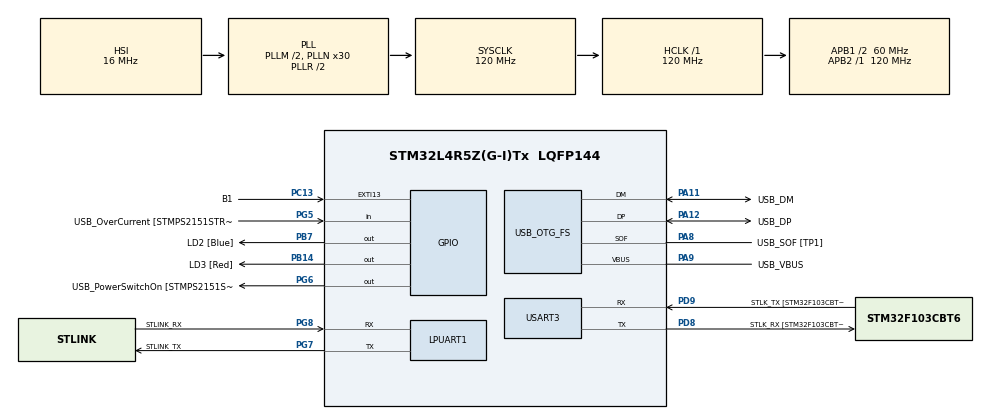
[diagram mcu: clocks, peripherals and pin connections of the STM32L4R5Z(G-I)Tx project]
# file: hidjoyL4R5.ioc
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Mcu.Family=STM32L4
Mcu.Name=STM32L4R5Z(G-I)Tx
Mcu.Package=LQFP144
NVIC.OTG_FS_IRQn=true\:0\:0\:false\:false\:true\:false\:true\:true
NVIC.PriorityGroup=NVIC_PRIORITYGROUP_4
PA10.GPIO_Label=USB_ID
PA10.Signal=USB_OTG_FS_ID
PA11.GPIO_Label=USB_DM
PA11.Mode=Device_Only
PA11.Signal=USB_OTG_FS_DM
PA12.GPIO_Label=USB_DP
PA12.Mode=Device_Only
PA12.Signal=USB_OTG_FS_DP
PA13\ (JTMS/SWDIO).GPIO_Label=TMS
PA13\ (JTMS/SWDIO).Mode=Serial_Wire
PA13\ (JTMS/SWDIO).Signal=SYS_JTMS-SWDIO
PA14\ (JTCK/SWCLK).GPIO_Label=TCK
PA14\ (JTCK/SWCLK).Mode=Serial_Wire
PA14\ (JTCK/SWCLK).Signal=SYS_JTCK-SWCLK
PA8.GPIO_Label=USB_SOF [TP1]
PA8.Mode=Activate_SOF_FS
PA8.Signal=USB_OTG_FS_SOF
PA9.GPIO_Label=USB_VBUS
PA9.Mode=Activate_VBUS
PA9.Signal=USB_OTG_FS_VBUS
PB14.GPIO_Label=LD3 [Red]
PB14.Signal=GPIO_Output
PB3\ (JTDO/TRACESWO).GPIO_Label=SWO
PB3\ (JTDO/TRACESWO).Signal=SYS_JTDO-SWO
PB7.GPIO_Label=LD2 [Blue]
PB7.Signal=GPIO_Output
PC13.GPIO_Label=B1
PC13.Signal=GPXTI13
PC14-OSC32_IN\ (PC14).Mode=LSE-External-Oscillator
PC14-OSC32_IN\ (PC14).Signal=RCC_OSC32_IN
PC15-OSC32_OUT\ (PC15).Mode=LSE-External-Oscillator
PC15-OSC32_OUT\ (PC15).Signal=RCC_OSC32_OUT
PD8.GPIO_Label=STLK_RX [STM32F103CBT6_PA3]
PD8.Mode=Asynchronous
PD8.Signal=USART3_TX
PD9.GPIO_Label=STLK_TX [STM32F103CBT6_PA2]
PD9.Mode=Asynchronous
PD9.Signal=USART3_RX
PG5.GPIO_Label=USB_OverCurrent [STMPS2151STR_FAULT]
PG5.Signal=GPIO_Input
PG6.GPIO_Label=USB_PowerSwitchOn [STMPS2151STR_EN]
PG6.Signal=GPIO_Output
PG7.GPIO_Label=STLINK_TX
PG7.Mode=Asynchronous
PG7.Signal=LPUART1_TX
PG8.GPIO_Label=STLINK_RX
PG8.Mode=Asynchronous
PG8.Signal=LPUART1_RX
PH0-OSC_IN\ (PH0).Signal=RCC_OSC_IN
PH1-OSC_OUT\ (PH1).Signal=RCC_OSC_OUT
ProjectManager.HeapSize=0x200
ProjectManager.StackSize=0x400
ProjectManager.TargetToolchain=STM32CubeIDE
RCC.48MHZClocksFreq_Value=24000000
RCC.ADCFreq_Value=96000000
RCC.AHBFreq_Value=120000000
RCC.APB1CLKDivider=RCC_HCLK_DIV2
RCC.APB1Freq_Value=60000000
RCC.APB1TimFreq_Value=120000000
RCC.APB2Freq_Value=120000000
RCC.APB2TimFreq_Value=120000000
RCC.CK48CLockSelection=RCC_USBCLKSOURCE_HSI48
RCC.CortexFreq_Value=120000000
RCC.HCLKFreq_Value=120000000
RCC.HSE_VALUE=8000000
RCC.HSI48_VALUE=48000000
RCC.HSI_VALUE=16000000
RCC.MSI_VALUE=4000000
RCC.PLLM1=2
RCC.PLLMUL=RCC_PLL_MUL9
RCC.PLLN=30
RCC.PLLSAI1N=12
RCC.PLLSourceVirtual=RCC_PLLSOURCE_HSI
RCC.PRESCALERUSB=RCC_USBCLKSOURCE_PLL_DIV1_5
RCC.SYSCLKFreq_VALUE=120000000
RCC.SYSCLKSource=RCC_SYSCLKSOURCE_PLLCLK
RCC.SYSCLKSourceVirtual=RCC_SYSCLKSOURCE_PLLCLK
RCC.USBFreq_Value=48000000
RCC.VCOOutputFreq_Value=240000000
USART3.VirtualMode-Asynchronous=VM_ASYNC
USB_DEVICE.CLASS_NAME_FS=HID
USB_DEVICE.VirtualMode=Hid
USB_DEVICE.VirtualModeFS=Hid_FS
USB_OTG_FS.VirtualMode=Device_Only
VP_USB_DEVICE_VS_USB_DEVICE_HID_FS.Mode=HID_FS
board=NUCLEO-L4R5ZI

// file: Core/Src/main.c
/* USER CODE BEGIN Header */
/**
  ******************************************************************************
  * @file           : main.c
  * @brief          : Main program body
  ******************************************************************************
  * @attention
  *
  * Copyright (c) 2024 STMicroelectronics.
  * All rights reserved.
  *
  * This software is licensed under terms that can be found in the LICENSE file
  * in the root directory of this software component.
  * If no LICENSE file comes with this software, it is provided AS-IS.
  *
  ******************************************************************************
  */
/* USER CODE END Header */
#include "main.h"
#include "usb_device.h"

/* USER CODE BEGIN Includes */
#include "usbd_hid.h"
/* USER CODE END Includes */

/* USER CODE BEGIN PD */

typedef struct {
    // Buttons (3 bits for buttons + 5 bits padding to complete the byte)
    uint8_t button1 : 1;
    uint8_t button2 : 1;
    uint8_t button3 : 1;
    uint8_t padding1 : 5;  // Padding to align the next data to a byte boundary

    // Axes (5 axes, each 12 bits, padded to 16 bits for alignment)
    uint16_t x_axis : 12;
    uint16_t x_padding : 4;  // 4-bit padding to align to 16 bits

    uint16_t y_axis : 12;
    uint16_t y_padding : 4;

    uint16_t z_axis : 12;
    uint16_t z_padding : 4;

    uint16_t rx_axis : 12;
    uint16_t rx_padding : 4;

    uint16_t ry_axis : 12;
    uint16_t ry_padding : 4;
} __attribute__((packed)) JoystickReport;

/* USER CODE END PD */

UART_HandleTypeDef hlpuart1;
UART_HandleTypeDef huart3;

void SystemClock_Config(void);
static void MX_GPIO_Init(void);
static void MX_LPUART1_UART_Init(void);
static void MX_USART3_UART_Init(void);
uint8_t USBD_HID_SendReport(USBD_HandleTypeDef *pdev, uint8_t *report, uint16_t len);
/* USER CODE BEGIN PFP */

extern USBD_HandleTypeDef hUsbDeviceFS;
/* USER CODE END PFP */

int main(void)
{

  /* MCU Configuration--------------------------------------------------------*/

  /* Reset of all peripherals, Initializes the Flash interface and the Systick. */
  HAL_Init();

  /* Configure the system clock */
  SystemClock_Config();

  /* Initialize all configured peripherals */
  MX_GPIO_Init();
  MX_LPUART1_UART_Init();
  MX_USART3_UART_Init();
  MX_USB_DEVICE_Init();

  /* Infinite loop */
  while (1)
  {
	  static uint16_t val = 0;
	  static JoystickReport rep = {};
	  rep.x_axis = val;
	  rep.y_axis = UINT16_MAX - val;
	  rep.z_axis = val;
	  rep.rx_axis = UINT16_MAX - val;
	  rep.ry_axis = val;

	  if(!(val % 500))
	  {
		  rep.button1 = !rep.button1;
		  rep.button2 = !rep.button1;
		  rep.button3 = !rep.button2;
	  }

	  USBD_HID_SendReport(&hUsbDeviceFS, (void *)&rep, sizeof(rep));

	  HAL_Delay(10);
	  val += 10;
  }
}

void SystemClock_Config(void)
{
  RCC_OscInitTypeDef RCC_OscInitStruct = {0};
  RCC_ClkInitTypeDef RCC_ClkInitStruct = {0};

  /** Configure the main internal regulator output voltage
  */
  if (HAL_PWREx_ControlVoltageScaling(PWR_REGULATOR_VOLTAGE_SCALE1_BOOST) != HAL_OK)
  {
    Error_Handler();
  }

  /** Initializes the RCC Oscillators according to the specified parameters
  * in the RCC_OscInitTypeDef structure.
  */
  RCC_OscInitStruct.OscillatorType = RCC_OSCILLATORTYPE_HSI48|RCC_OSCILLATORTYPE_HSI;
  RCC_OscInitStruct.HSIState = RCC_HSI_ON;
  RCC_OscInitStruct.HSI48State = RCC_HSI48_ON;
  RCC_OscInitStruct.HSICalibrationValue = RCC_HSICALIBRATION_DEFAULT;
  RCC_OscInitStruct.PLL.PLLState = RCC_PLL_ON;
  RCC_OscInitStruct.PLL.PLLSource = RCC_PLLSOURCE_HSI;
  RCC_OscInitStruct.PLL.PLLM = 2;
  RCC_OscInitStruct.PLL.PLLN = 30;
  RCC_OscInitStruct.PLL.PLLP = RCC_PLLP_DIV2;
  RCC_OscInitStruct.PLL.PLLQ = RCC_PLLQ_DIV2;
  RCC_OscInitStruct.PLL.PLLR = RCC_PLLR_DIV2;
  if (HAL_RCC_OscConfig(&RCC_OscInitStruct) != HAL_OK)
  {
    Error_Handler();
  }

  /** Initializes the CPU, AHB and APB buses clocks
  */
  RCC_ClkInitStruct.ClockType = RCC_CLOCKTYPE_HCLK|RCC_CLOCKTYPE_SYSCLK
                              |RCC_CLOCKTYPE_PCLK1|RCC_CLOCKTYPE_PCLK2;
  RCC_ClkInitStruct.SYSCLKSource = RCC_SYSCLKSOURCE_PLLCLK;
  RCC_ClkInitStruct.AHBCLKDivider = RCC_SYSCLK_DIV1;
  RCC_ClkInitStruct.APB1CLKDivider = RCC_HCLK_DIV2;
  RCC_ClkInitStruct.APB2CLKDivider = RCC_HCLK_DIV1;

  if (HAL_RCC_ClockConfig(&RCC_ClkInitStruct, FLASH_LATENCY_5) != HAL_OK)
  {
    Error_Handler();
  }
}

static void MX_LPUART1_UART_Init(void)
{

  hlpuart1.Instance = LPUART1;
  hlpuart1.Init.BaudRate = 209700;
  hlpuart1.Init.WordLength = UART_WORDLENGTH_7B;
  hlpuart1.Init.StopBits = UART_STOPBITS_1;
  hlpuart1.Init.Parity = UART_PARITY_NONE;
  hlpuart1.Init.Mode = UART_MODE_TX_RX;
  hlpuart1.Init.HwFlowCtl = UART_HWCONTROL_NONE;
  hlpuart1.Init.OneBitSampling = UART_ONE_BIT_SAMPLE_DISABLE;
  hlpuart1.Init.ClockPrescaler = UART_PRESCALER_DIV1;
  hlpuart1.AdvancedInit.AdvFeatureInit = UART_ADVFEATURE_NO_INIT;
  hlpuart1.FifoMode = UART_FIFOMODE_DISABLE;
  if (HAL_UART_Init(&hlpuart1) != HAL_OK)
  {
    Error_Handler();
  }
  if (HAL_UARTEx_SetTxFifoThreshold(&hlpuart1, UART_TXFIFO_THRESHOLD_1_8) != HAL_OK)
  {
    Error_Handler();
  }
  if (HAL_UARTEx_SetRxFifoThreshold(&hlpuart1, UART_RXFIFO_THRESHOLD_1_8) != HAL_OK)
  {
    Error_Handler();
  }
  if (HAL_UARTEx_DisableFifoMode(&hlpuart1) != HAL_OK)
  {
    Error_Handler();
  }

}

static void MX_USART3_UART_Init(void)
{

  huart3.Instance = USART3;
  huart3.Init.BaudRate = 115200;
  huart3.Init.WordLength = UART_WORDLENGTH_8B;
  huart3.Init.StopBits = UART_STOPBITS_1;
  huart3.Init.Parity = UART_PARITY_NONE;
  huart3.Init.Mode = UART_MODE_TX_RX;
  huart3.Init.HwFlowCtl = UART_HWCONTROL_NONE;
  huart3.Init.OverSampling = UART_OVERSAMPLING_16;
  huart3.Init.OneBitSampling = UART_ONE_BIT_SAMPLE_DISABLE;
  huart3.Init.ClockPrescaler = UART_PRESCALER_DIV1;
  huart3.AdvancedInit.AdvFeatureInit = UART_ADVFEATURE_NO_INIT;
  if (HAL_UART_Init(&huart3) != HAL_OK)
  {
    Error_Handler();
  }
  if (HAL_UARTEx_SetTxFifoThreshold(&huart3, UART_TXFIFO_THRESHOLD_1_8) != HAL_OK)
  {
    Error_Handler();
  }
  if (HAL_UARTEx_SetRxFifoThreshold(&huart3, UART_RXFIFO_THRESHOLD_1_8) != HAL_OK)
  {
    Error_Handler();
  }
  if (HAL_UARTEx_DisableFifoMode(&huart3) != HAL_OK)
  {
    Error_Handler();
  }

}

static void MX_GPIO_Init(void)
{
  GPIO_InitTypeDef GPIO_InitStruct = {0};

  /* GPIO Ports Clock Enable */
  __HAL_RCC_GPIOC_CLK_ENABLE();
  __HAL_RCC_GPIOH_CLK_ENABLE();
  __HAL_RCC_GPIOB_CLK_ENABLE();
  __HAL_RCC_GPIOD_CLK_ENABLE();
  __HAL_RCC_GPIOG_CLK_ENABLE();
  HAL_PWREx_EnableVddIO2();
  __HAL_RCC_GPIOA_CLK_ENABLE();

  /*Configure GPIO pin Output Level */
  HAL_GPIO_WritePin(GPIOB, LD3_Pin|LD2_Pin, GPIO_PIN_RESET);

  /*Configure GPIO pin Output Level */
  HAL_GPIO_WritePin(USB_PowerSwitchOn_GPIO_Port, USB_PowerSwitchOn_Pin, GPIO_PIN_RESET);

  /*Configure GPIO pin : B1_Pin */
  GPIO_InitStruct.Pin = B1_Pin;
  GPIO_InitStruct.Mode = GPIO_MODE_IT_RISING;
  GPIO_InitStruct.Pull = GPIO_NOPULL;
  HAL_GPIO_Init(B1_GPIO_Port, &GPIO_InitStruct);

  /*Configure GPIO pins : LD3_Pin LD2_Pin */
  GPIO_InitStruct.Pin = LD3_Pin|LD2_Pin;
  GPIO_InitStruct.Mode = GPIO_MODE_OUTPUT_PP;
  GPIO_InitStruct.Pull = GPIO_NOPULL;
  GPIO_InitStruct.Speed = GPIO_SPEED_FREQ_LOW;
  HAL_GPIO_Init(GPIOB, &GPIO_InitStruct);

  /*Configure GPIO pin : USB_OverCurrent_Pin */
  GPIO_InitStruct.Pin = USB_OverCurrent_Pin;
  GPIO_InitStruct.Mode = GPIO_MODE_INPUT;
  GPIO_InitStruct.Pull = GPIO_NOPULL;
  HAL_GPIO_Init(USB_OverCurrent_GPIO_Port, &GPIO_InitStruct);

  /*Configure GPIO pin : USB_PowerSwitchOn_Pin */
  GPIO_InitStruct.Pin = USB_PowerSwitchOn_Pin;
  GPIO_InitStruct.Mode = GPIO_MODE_OUTPUT_PP;
  GPIO_InitStruct.Pull = GPIO_NOPULL;
  GPIO_InitStruct.Speed = GPIO_SPEED_FREQ_LOW;
  HAL_GPIO_Init(USB_PowerSwitchOn_GPIO_Port, &GPIO_InitStruct);

}

void Error_Handler(void)
{
  __disable_irq();
  while (1)
  {
  }
}
